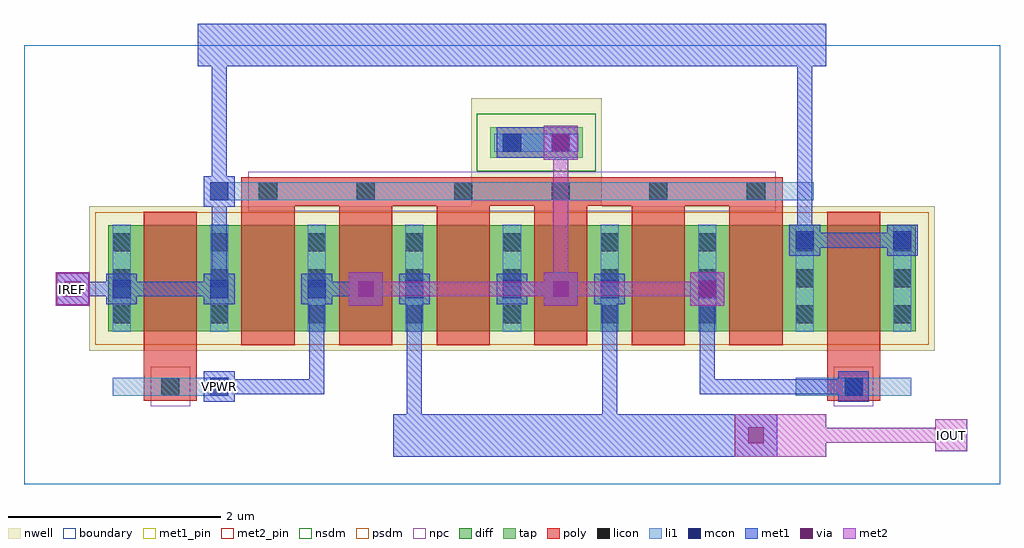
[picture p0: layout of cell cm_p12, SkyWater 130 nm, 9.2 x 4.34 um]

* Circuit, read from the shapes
.subckt cm_p12 IOUT IREF VPWR
XM1 IREF VPWR IREF VPWR sky130_fd_pr__pfet_01v8 w=1 l=0.5 m=2
XM2 VPWR IREF IREF VPWR sky130_fd_pr__pfet_01v8 w=1 l=0.5 m=2
XM3 IOUT IREF VPWR VPWR sky130_fd_pr__pfet_01v8 w=1 l=0.5 m=4
.ends

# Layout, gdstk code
import gdstk
lib = gdstk.Library(unit=1e-6, precision=1e-09)
def R(c, l, rs):  # rectangles x0, y0, x1, y1
    for r in rs: c.add(gdstk.rectangle(r[:2], r[2:], *l))
def A(c, l, x, y, w, h, nx, ny, dx, dy):  # array of equal rectangles
    R(c, l, [(x+i*dx, y+j*dy, x+i*dx+w, y+j*dy+h) for i in range(nx) for j in range(ny)])
nwell = (64, 20)
diff = (65, 20)
tap = (65, 44)
poly = (66, 20)
licon = (66, 44)
li1 = (67, 20)
mcon = (67, 44)
met1_pin = (68, 16)
met1 = (68, 20)
via = (68, 44)
met2_pin = (69, 16)
met2 = (69, 20)
nsdm = (93, 44)
psdm = (94, 20)
npc = (95, 20)
boundary = (235, 4)

cm_p12 = lib.new_cell('cm_p12')
R(cm_p12, nwell, [(0.615,1.26,8.585,2.62), (4.215,2.62,5.445,3.64)])
R(cm_p12, diff, [(0.795,1.44,8.405,2.44)])
R(cm_p12, tap, [(4.395,3.075,5.265,3.365)])
A(cm_p12, poly, 2.05, 1.31, 0.5, 1.45, 6, 1, 0.92, 0)
R(cm_p12, poly, [(1.13,0.785,1.63,1.055), (7.57,0.785,8.07,1.055), (1.13,0.92,1.63,2.57), (7.57,0.92,8.07,2.57), (2.05,2.625,7.15,2.895)])
A(cm_p12, licon, 0.835, 1.515, 0.17, 0.17, 9, 3, 0.92, 0.34)
A(cm_p12, licon, 2.215, 2.675, 0.17, 0.17, 6, 1, 0.92, 0)
R(cm_p12, licon, [(1.295,0.835,1.465,1.005), (7.735,0.835,7.905,1.005), (4.515,3.135,4.685,3.305), (4.975,3.135,5.145,3.305)])
A(cm_p12, li1, 0.835, 1.435, 0.17, 1.01, 9, 1, 0.92, 0)
R(cm_p12, li1, [(0.835,0.835,1.925,1.005), (7.275,0.835,8.365,1.005), (1.755,2.675,7.445,2.845), (4.435,3.135,5.225,3.305)])
A(cm_p12, mcon, 0.835, 1.755, 0.17, 0.17, 7, 1, 0.92, 0)
R(cm_p12, mcon, [(1.755,0.835,1.925,1.005), (7.735,0.835,7.905,1.005), (7.275,2.215,7.445,2.385), (8.195,2.215,8.365,2.385), (1.755,2.675,1.925,2.845), (4.515,3.135,4.685,3.305), (4.975,3.135,5.145,3.305)])
R(cm_p12, met1_pin, [(1.695,0.775,1.985,1.065)])
A(cm_p12, met1, 0.775, 1.695, 0.29, 0.29, 7, 1, 0.92, 0)
R(cm_p12, met1, [(3.48,0.26,5.72,0.66), (5.32,0.26,7.1,0.66), (6.7,0.26,7.1,0.66), (3.61,0.39,3.75,1.91), (5.45,0.39,5.59,1.91), (1.695,0.775,1.985,1.065), (7.675,0.775,7.965,1.065), (1.77,0.85,2.83,0.99), (2.69,0.85,2.83,1.91), (6.37,0.85,6.51,1.91), (6.37,0.85,7.89,0.99), (0.3,1.68,0.62,2), (3.06,1.68,3.38,2), (4.9,1.68,5.22,2), (6.28,1.68,6.6,2), (0.39,1.77,0.99,1.91), (0.85,1.77,1.91,1.91), (1.77,1.77,1.91,2.83), (2.69,1.77,3.29,1.91), (4.53,1.77,5.13,1.91), (7.215,2.155,7.505,2.445), (8.135,2.155,8.425,2.445), (7.29,2.23,8.35,2.37), (7.29,2.23,7.43,4.21), (1.695,2.615,1.985,2.905), (1.77,2.69,1.91,4.21), (4.9,3.06,5.22,3.38), (4.455,3.075,5.205,3.365), (4.99,3.15,5.13,3.29), (1.64,3.94,7.56,4.34)])
R(cm_p12, via, [(6.825,0.385,6.975,0.535), (0.385,1.765,0.535,1.915), (3.145,1.765,3.295,1.915), (4.985,1.765,5.135,1.915), (6.365,1.765,6.515,1.915), (4.985,3.145,5.135,3.295)])
R(cm_p12, met2_pin, [(8.59,0.31,8.89,0.61), (0.31,1.69,0.61,1.99)])
R(cm_p12, met2, [(6.7,0.26,7.1,0.66), (6.7,0.26,7.56,0.66), (8.59,0.31,8.89,0.61), (7.29,0.39,8.81,0.53), (8.67,0.39,8.81,0.53), (0.3,1.68,0.62,2), (3.06,1.68,3.38,2), (4.9,1.68,5.22,2), (6.28,1.68,6.6,2), (0.31,1.69,0.61,1.99), (0.39,1.77,0.53,1.91), (3.15,1.77,5.13,1.91), (4.99,1.77,6.51,1.91), (4.99,1.77,5.13,3.29), (4.9,3.06,5.22,3.38)])
R(cm_p12, nsdm, [(4.27,2.95,5.39,3.49)])
R(cm_p12, psdm, [(0.67,1.315,8.53,2.565)])
R(cm_p12, npc, [(1.195,0.735,1.565,1.105), (7.635,0.735,8.005,1.105), (2.115,2.575,7.085,2.945)])
R(cm_p12, boundary, [(0,0,9.2,4.14)])
cm_p12.add(gdstk.Label('VPWR', (1.84,0.92), layer=68, texttype=5))
cm_p12.add(gdstk.Label('IREF', (0.46,1.84), layer=69, texttype=5))
cm_p12.add(gdstk.Label('IOUT', (8.74,0.46), layer=69, texttype=5))
cm_p12.add(gdstk.Label('VPWR', (1.84,0.92), layer=68, texttype=16))
cm_p12.add(gdstk.Label('IREF', (0.46,1.84), layer=69, texttype=16))
cm_p12.add(gdstk.Label('IOUT', (8.74,0.46), layer=69, texttype=16))

lib.write_gds('cm_p12.gds')
